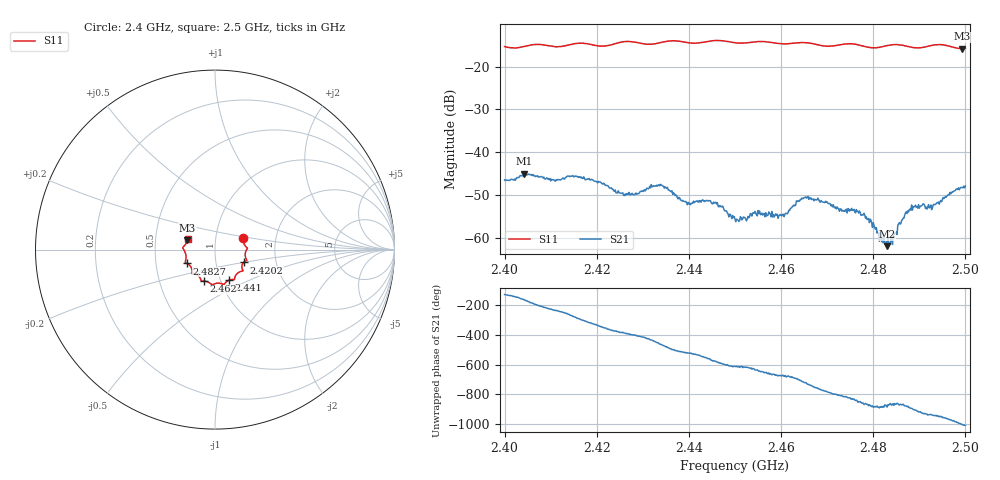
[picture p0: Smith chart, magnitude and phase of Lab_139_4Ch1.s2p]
# Hz S RI R 50
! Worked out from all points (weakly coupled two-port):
!   601 points, 2.4 GHz to 2.5 GHz, reference 50 ohm
!   highest |S21| = -45.03 dB at 2.4042 GHz (marker M1); lowest = -61.9 dB at 2.483 GHz (marker M2)
!   lowest |S11| = -15.8 dB at 2.4993 GHz (marker M3), VSWR 1.39, Z = 36.5 + j3.81 ohm
!   |S11| at or under -10 dB: start of sweep to end of sweep
!   S12 and S22 are empty: the file has one direction only
!   S11 on the Smith chart (normalised r, x): 2.4 GHz: 1.36, +0.18; 2.4202 GHz: 1.36, -0.20; 2.441 GHz: 1.10, -0.39; 2.462 GHz: 0.84, -0.30; 2.4827 GHz: 0.72, -0.11; 2.5 GHz: 0.73, +0.09
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2.4e9  0.1587 0.0629  -0.00285 -0.00382  0 0  0 0
2.404167e9  0.1699 0.0189  -0.00532 -0.00177  0 0  0 0
2.416667e9  0.1774 -0.0606  0.00239 0.00454  0 0  0 0
2.420167e9  0.1591 -0.0717  0.00398 0.00184  0 0  0 0
2.426333e9  0.1561 -0.1184  0.00274 -0.00159  0 0  0 0
2.433333e9  0.1117 -0.1506  -0.000157 -0.00416  0 0  0 0
2.441e9  0.0789 -0.1698  -0.00264 -0.00052  0 0  0 0
2.445667e9  0.0506 -0.1947  -0.00212 0.0015  0 0  0 0
2.45e9  0.0285 -0.1875  -0.00055 0.00157  0 0  0 0
2.454833e9  -0.0115 -0.1946  0.000145 0.0018  0 0  0 0
2.459833e9  -0.0394 -0.1804  0.00126 0.00135  0 0  0 0
2.462e9  -0.0601 -0.1756  0.00174 0.00135  0 0  0 0
2.464833e9  -0.076 -0.1747  0.00288 0.000258  0 0  0 0
2.466667e9  -0.0789 -0.1684  0.0026 -0.00107  0 0  0 0
2.476833e9  -0.127 -0.1258  -0.00119 -0.00154  0 0  0 0
2.482667e9  -0.156 -0.0771  -0.000753 -0.000347  0 0  0 0
2.483e9  -0.1584 -0.076  -0.000774 -0.000209  0 0  0 0
2.483333e9  -0.1603 -0.0751  -0.000742 -0.000367  0 0  0 0
2.488333e9  -0.1613 -0.046  -0.00241 -0.00029  0 0  0 0
2.492667e9  -0.1762 0.00304  -0.0017 0.00131  0 0  0 0
2.499333e9  -0.1537 0.0508  0.000793 0.00381  0 0  0 0
2.5e9  -0.152 0.06  0.00131 0.00382  0 0  0 0
